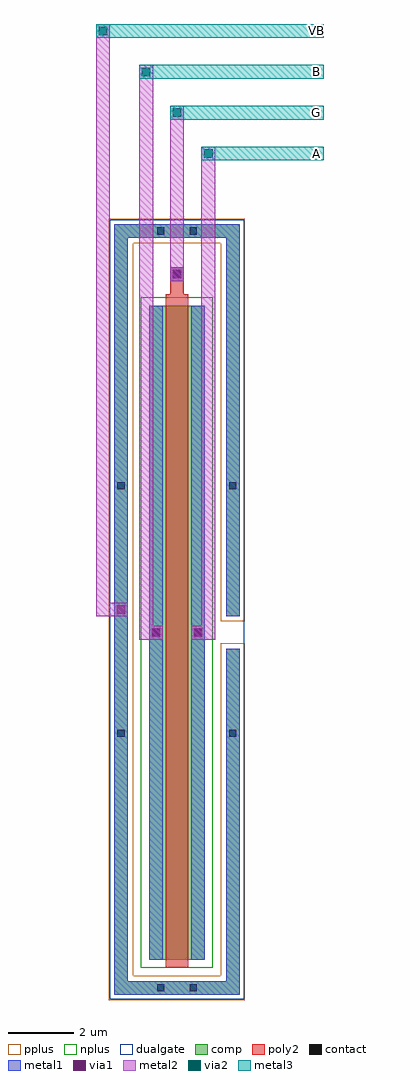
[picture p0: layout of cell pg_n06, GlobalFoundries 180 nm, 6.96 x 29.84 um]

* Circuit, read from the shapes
.subckt pg_n06 A B G VB
XM1 A G B VB nfet_06v0 w=20u l=0.7u
.ends

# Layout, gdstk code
import gdstk
lib = gdstk.Library(unit=1e-6, precision=1e-09)
def R(c, l, rs):  # rectangles x0, y0, x1, y1
    for r in rs: c.add(gdstk.rectangle(r[:2], r[2:], *l))
def P(c, l, *ps):  # polygons
    for p in ps: c.add(gdstk.Polygon(p, *l))
comp = (22, 0)
poly2 = (30, 0)
pplus = (31, 0)
nplus = (32, 0)
contact = (33, 0)
metal1 = (34, 0)
via1 = (35, 0)
metal2 = (36, 0)
via2 = (38, 0)
metal3 = (42, 0)
dualgate = (55, 0)

pg60 = lib.new_cell('pg60')
R(pg60, comp, [(0,0,1.7,20)])
P(pg60, comp, [(-1.07,-1.07),(-1.07,22.49),(2.77,22.49),(2.77,10.51),(2.35,10.51),(2.35,22.07),(-0.65,22.07),(-0.65,-0.65),(2.35,-0.65),(2.35,9.51),(2.77,9.51),(2.77,-1.07)])
R(pg60, poly2, [(0.5,-0.25,1.2,20), (0.5,20,1.2,20.35), (0.64,20.35,1.06,21.17)])
P(pg60, pplus, [(-1.23,-1.23),(-1.23,22.65),(2.93,22.65),(2.93,10.35),(2.19,10.35),(2.19,21.91),(-0.49,21.91),(-0.49,-0.49),(2.19,-0.49),(2.19,9.67),(2.93,9.67),(2.93,-1.23)])
R(pg60, nplus, [(-0.25,-0.25,1.95,20.25)])
R(pg60, contact, [(0.24,-0.97,0.46,-0.75), (1.24,-0.97,1.46,-0.75), (-0.97,6.815,-0.75,7.035), (2.45,6.815,2.67,7.035), (0.1,9.89,0.32,10.11), (1.38,9.89,1.6,10.11), (-0.97,14.385,-0.75,14.605), (2.45,14.385,2.67,14.605), (0.74,20.85,0.96,21.07), (0.24,22.17,0.46,22.39), (1.24,22.17,1.46,22.39)])
R(pg60, metal1, [(0,0,0.42,20), (1.28,0,1.7,20), (0.64,20.75,1.06,21.17)])
P(pg60, metal1, [(-1.07,-1.07),(-1.07,22.49),(2.77,22.49),(2.77,10.51),(2.35,10.51),(2.35,22.07),(-0.65,22.07),(-0.65,-0.65),(2.35,-0.65),(2.35,9.51),(2.77,9.51),(2.77,-1.07)])
R(pg60, dualgate, [(-1.2,-1.2,2.9,22.62)])

pg_n06 = lib.new_cell('pg_n06')
R(pg_n06, via1, [(2.51,12.1,2.77,12.36), (3.79,12.1,4.05,12.36), (1.44,12.81,1.7,13.07), (3.15,23.06,3.41,23.32)])
R(pg_n06, metal2, [(2.13,12.02,2.85,12.44), (2.13,12.02,2.55,29.59), (2.43,12.02,2.85,12.44), (3.71,12.02,4.13,12.44), (3.71,12.02,4.45,12.44), (4.03,12.02,4.45,27.09), (0.81,12.73,1.78,13.15), (0.81,12.73,1.23,30.84), (1.36,12.73,1.78,13.15), (3.07,22.98,3.49,23.4), (3.07,22.98,3.49,23.4), (3.07,22.98,3.49,28.34)])
R(pg_n06, via2, [(4.11,26.75,4.37,27.01), (3.15,28,3.41,28.26), (2.21,29.25,2.47,29.51), (0.89,30.5,1.15,30.76)])
R(pg_n06, metal3, [(4.03,26.67,4.45,27.09), (4.03,26.67,7.77,27.09), (3.07,27.92,3.49,28.34), (3.07,27.92,7.77,28.34), (2.13,29.17,2.55,29.59), (2.13,29.17,7.77,29.59), (0.81,30.42,1.23,30.84), (0.81,30.42,7.77,30.84)])
pg_n06.add(gdstk.Reference(pg60, (2.43,2.23)))
pg_n06.add(gdstk.Label('A', (7.56,26.88), layer=42, texttype=10))
pg_n06.add(gdstk.Label('G', (7.56,28.13), layer=42, texttype=10))
pg_n06.add(gdstk.Label('B', (7.56,29.38), layer=42, texttype=10))
pg_n06.add(gdstk.Label('VB', (7.56,30.63), layer=42, texttype=10))

lib.write_gds('pg_n06.gds')
